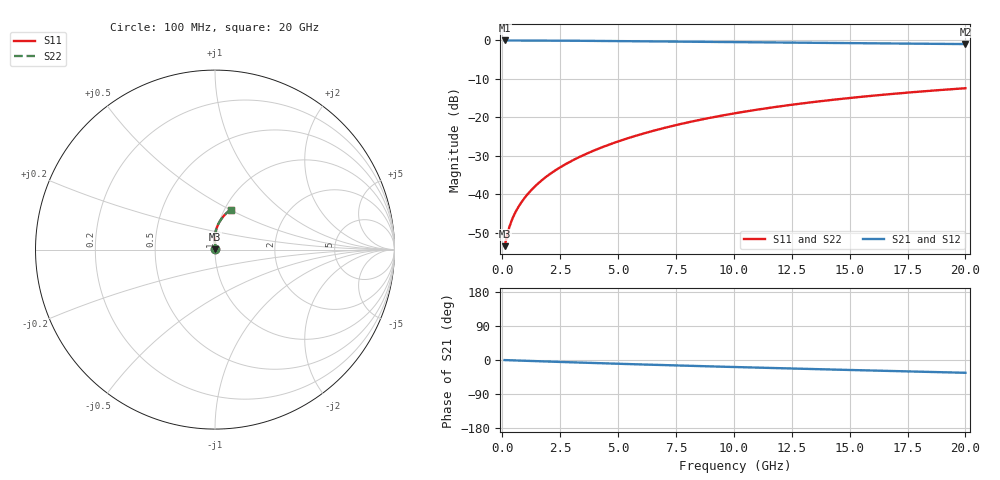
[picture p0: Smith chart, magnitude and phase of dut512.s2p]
! Touchstone file exported from HFSS 2024.1.0
!  File:  C:/UserFiles/LocalFiles/RDL_TSV_Batchsim/temp_RDL_top_512_1779679487.aedt
!  Generated:  11:26:44 AM May 25, 2026
!  Design:  RDL_top
!  Project:  temp_RDL_top_512_1779679487
!  Setup:  Setup1
!  Solution:  Sweep
! Variables:
!  dtsv = 10.80580581um
!  hbump = 3um
!  htsv = 72.21um
!  ldown = 100um
!  lrdl = 540.89um
!  p = 40
!  p1 = 43.49um
!  rhole = 1um
!  t = 450um
!  tdown = 3.915915916um
!  trdl = 4.63um
!  wdown = 15.38538539um
!  wrdl = 26.1um
# GHz S MA R 50.000000
! Terminal data exported
! Port[1] = Box2_T1
! Port[2] = Box2_T2
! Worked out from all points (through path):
!   200 points, 100 MHz to 20 GHz, reference 50 ohm
!   highest |S21| = -0.02 dB at 100 MHz (marker M1); lowest = -1.0 dB at 20 GHz (marker M2)
!   group delay of S21, straight-line fit = 4.62 ps
!   lowest |S11| = -53.5 dB at 100 MHz (marker M3), VSWR 1.00, Z = 50.2 + j0.11 ohm
!   |S11| at or under -10 dB: start of sweep to end of sweep
!   |S22| runs from -53.5 to -12.4 dB; largest |S21 - S12| = 4e-15
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0.1  0.002115 31.3  0.9982 -0.2  0.9982 -0.2  0.002115 31.3
! Gamma 0 0 0 0
! Port Impedance 50 0 50 0
0.2  0.00288 47.5  0.998 -0.4  0.998 -0.4  0.00288 47.5
0.3  0.003712 55.6  0.9978 -0.6  0.9978 -0.6  0.003711 55.6
0.4  0.004524 60.6  0.9976 -0.9  0.9976 -0.9  0.004523 60.6
0.5  0.005314 64.2  0.9974 -1.1  0.9974 -1.1  0.005313 64.2
0.6  0.006095 67.2  0.9973 -1.3  0.9973 -1.3  0.006094 67.2
0.8  0.007662 71.8  0.997 -1.7  0.997 -1.7  0.007661 71.8
1.1  0.01007 76.7  0.9964 -2.3  0.9964 -2.3  0.01007 76.7
1.6  0.01428 81.9  0.9953 -3.3  0.9953 -3.3  0.01428 81.9
2.1  0.0187 85.2  0.9937 -4.3  0.9937 -4.3  0.0187 85.2
2.7  0.02429 87.8  0.9914 -5.5  0.9914 -5.5  0.02429 87.8
3.5  0.03222 89.9  0.9877 -7.1  0.9877 -7.1  0.03222 90.0
4.2  0.03962 91.0  0.984 -8.4  0.984 -8.4  0.03962 91.0
5  0.04857 91.5  0.9795 -9.9  0.9795 -9.9  0.04858 91.6
5.9  0.0592 91.5  0.9741 -11.6  0.9741 -11.6  0.05922 91.5
6.8  0.07033 91.0  0.9686 -13.1  0.9686 -13.1  0.07036 91.0
8.4  0.091 89.2  0.9588 -15.9  0.9588 -15.9  0.09105 89.2
10.1  0.1136 86.5  0.9487 -18.7  0.9487 -18.7  0.1137 86.6
11.7  0.1351 83.7  0.9395 -21.2  0.9395 -21.2  0.1351 83.8
13.4  0.1576 80.6  0.9301 -23.9  0.9301 -23.9  0.1577 80.7
16.7  0.1998 74.5  0.9126 -28.9  0.9126 -28.9  0.1999 74.6
20  0.239 68.6  0.8958 -33.8  0.8958 -33.8  0.2391 68.7
